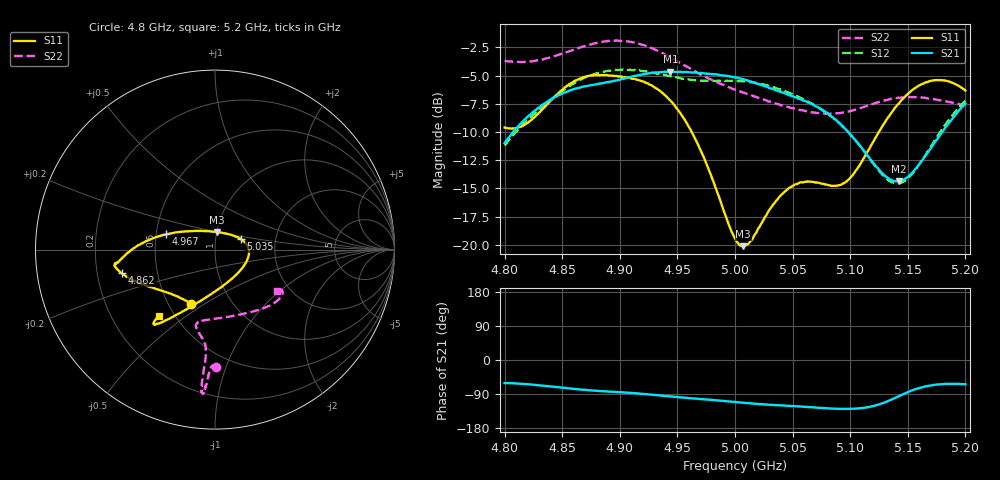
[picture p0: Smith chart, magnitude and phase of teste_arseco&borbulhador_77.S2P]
! Network Analyzer HP8722D
! Hewlett-Packard
! Data name: Linha & Wilkinson
! Saver's name: Rodrigo Anjos
! Comments: Teste da utilização de aquisição
! continua pelo VNA HP8722D
! Time and date: 15/4/2025 16:16
!  Frequency  S11  S21  S12  S22
# HZ  S  MA R 50
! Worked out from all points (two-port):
!   401 points, 4.8 GHz to 5.2 GHz, reference 50 ohm
!   highest |S21| = -4.64 dB at 4.944 GHz (marker M1); lowest = -14.4 dB at 5.142 GHz (marker M2)
!   |S21| within 3 dB of the highest: 4.832 GHz to 5.069 GHz (236.8 MHz wide, 4.78 % of centre); 5.198446 GHz to end of sweep
!   lowest |S11| = -20.1 dB at 5.007 GHz (marker M3), VSWR 1.22, Z = 50.2 + j9.92 ohm
!   |S11| at or under -10 dB: 4.962 GHz to 5.125 GHz (162.5 MHz wide, 3.22 % of centre)
!   |S22| runs from -8.4 to -1.9 dB; largest |S21 - S12| = 0.88
!   S11 on the Smith chart (normalised r, x): 4.8 GHz: 0.65, -0.44; 4.862 GHz: 0.31, -0.11; 4.967 GHz: 0.57, +0.11; 5.035 GHz: 1.32, +0.16; 5.2 GHz: 0.41, -0.40
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4.8e9  0.3311 -113.8  0.2823 -60.8  0.2755 -175.2  0.6537 -89.5
4.819e9  0.3452 -133.6  0.3656 -63.7  0.3532 -173.4  0.6486 -91.2
4.862e9  0.5356 -165.7  0.4933 -76.7  0.5265 -176.6  0.7399 -93.5
4.867e9  0.5492 -167.6  0.5014 -78.4  0.5413 -177.4  0.754 -93.7
4.898e9  0.5591 -172.0  0.5365 -84.5  0.5948 176.0  0.8038 -94.9
4.915e9  0.5394 -173.0  0.563 -88.2  0.5929 173.4  0.7816 -95.7
4.934e9  0.4851 -178.1  0.5817 -93.4  0.5728 172.0  0.7187 -95.6
4.944e9  0.4354 177.5  0.5862 -96.2  0.5581 171.9  0.6786 -95.4
4.967e9  0.2842 162.5  0.5789 -102.0  0.5353 173.9  0.5806 -94.9
5e9  0.1065 107.1  0.5516 -111.0  0.5338 176.4  0.4875 -99.2
5.007e9  0.09852 83.3  0.5423 -112.8  0.5305 176.3  0.4722 -100.8
5.014e9  0.1045 61.0  0.5294 -114.4  0.5249 176.1  0.4599 -102.5
5.035e9  0.1548 22.9  0.4845 -118.9  0.4964 175.2  0.4228 -103.7
5.05e9  0.1823 7.1  0.4561 -121.7  0.4649 174.5  0.4034 -100.4
5.067e9  0.1899 -11.5  0.4193 -124.7  0.4226 174.0  0.3863 -91.9
5.087e9  0.1823 -43.8  0.359 -128.4  0.3574 173.7  0.3825 -76.9
5.098e9  0.1935 -67.2  0.3174 -129.0  0.317 174.4  0.3891 -67.7
5.134e9  0.3731 -116.0  0.1958 -106.9  0.1918 -159.7  0.4417 -43.4
5.142e9  0.4216 -120.6  0.1911 -95.7  0.1879 -147.0  0.4486 -39.9
5.154e9  0.4864 -125.2  0.2089 -80.0  0.2074 -128.7  0.4514 -35.6
5.171e9  0.5341 -128.8  0.2726 -66.7  0.2774 -112.3  0.443 -31.8
5.2e9  0.4828 -130.4  0.4229 -64.1  0.4343 -106.1  0.4156 -33.5
